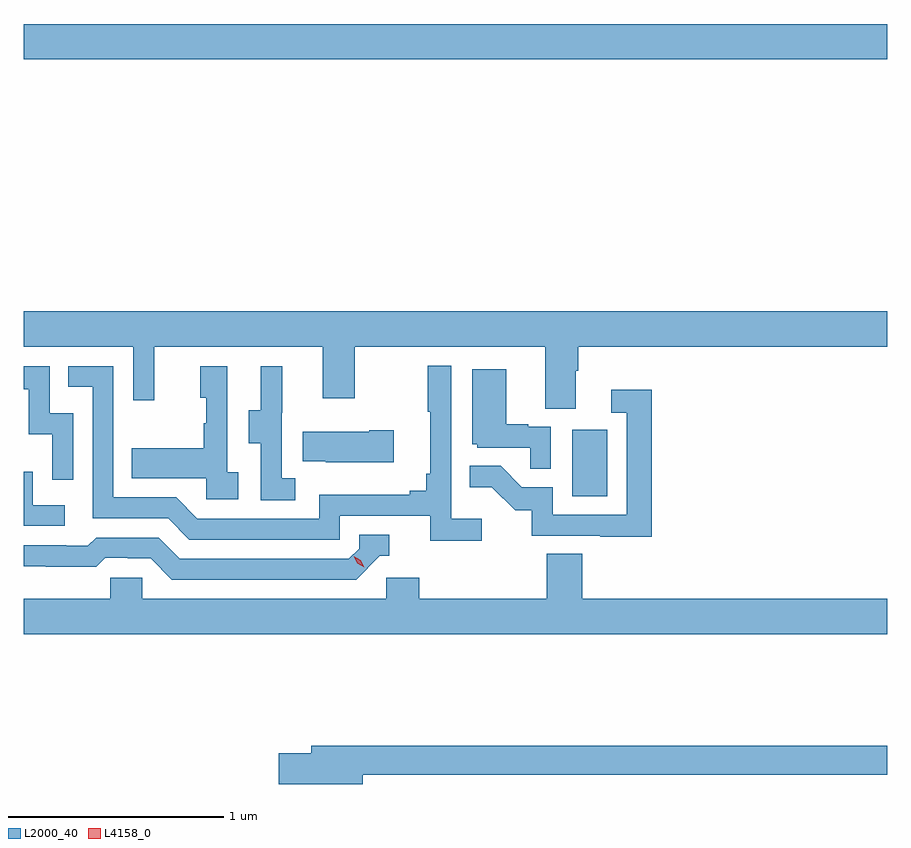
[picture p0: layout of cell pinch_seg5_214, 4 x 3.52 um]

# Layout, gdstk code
import gdstk
lib = gdstk.Library(unit=1e-6, precision=1e-09)
def R(c, l, rs):  # rectangles x0, y0, x1, y1
    for r in rs: c.add(gdstk.rectangle(r[:2], r[2:], *l))
def P(c, l, *ps):  # polygons
    for p in ps: c.add(gdstk.Polygon(p, *l))
L2000_40 = (2000, 40)
L4158_0 = (4158, 0)

pinch_seg5_214 = lib.new_cell('pinch_seg5_214')
R(pinch_seg5_214, L2000_40, [(962.564,912.012,962.728,912.319), (960.024,914.036,964.024,914.2)])
P(pinch_seg5_214, L2000_40, [(962.581,912.592),(962.594,912.592),(962.594,912.704),(964.024,912.704),(964.024,912.868),(960.024,912.868),(960.024,912.704),(960.531,912.704),(960.531,912.456),(960.629,912.456),(960.629,912.704),(961.409,912.704),(961.409,912.465),(961.557,912.465),(961.557,912.704),(962.441,912.704),(962.441,912.418),(962.581,912.418)],
  [(962.146,911.908),(962.004,911.908),(962.004,912.616),(961.896,912.616),(961.896,912.403),(961.907,912.403),(961.907,912.115),(961.888,912.115),(961.888,912.038),(961.811,912.038),(961.811,912.019),(961.392,912.019),(961.392,911.907),(960.828,911.907),(960.729,912.006),(960.438,912.006),(960.438,912.615),(960.229,912.615),(960.229,912.519),(960.342,912.519),(960.342,911.91),(960.692,911.91),(960.791,911.811),(961.488,911.811),(961.488,911.922),(961.907,911.922),(961.907,911.806),(962.146,911.806)],
  [(960.252,912.396),(960.144,912.396),(960.144,912.615),(960.024,912.615),(960.024,912.507),(960.047,912.507),(960.047,912.299),(960.156,912.299),(960.156,912.087),(960.252,912.087)],
  [(961.282,912.095),(961.218,912.095),(961.218,912.399),(961.22,912.399),(961.22,912.613),(961.121,912.613),(961.121,912.411),(961.067,912.411),(961.067,912.256),(961.122,912.256),(961.122,911.992),(961.282,911.992)],
  [(961.018,912.122),(960.966,912.122),(960.966,912.613),(960.842,912.613),(960.842,912.468),(960.868,912.468),(960.868,912.35),(960.858,912.35),(960.858,912.235),(960.523,912.235),(960.523,912.095),(960.87,912.095),(960.87,911.997),(961.018,911.997)],
  [(962.466,912.333),(962.36,912.333),(962.36,912.346),(962.26,912.346),(962.26,912.601),(962.102,912.601),(962.102,912.252),(962.124,912.252),(962.124,912.237),(962.371,912.237),(962.371,912.139),(962.466,912.139)],
  [(962.933,912.505),(962.745,912.505),(962.745,912.399),(962.817,912.399),(962.817,911.925),(962.475,911.925),(962.475,912.054),(962.331,912.054),(962.233,912.152),(962.089,912.152),(962.089,912.053),(962.193,912.053),(962.3,911.946),(962.377,911.946),(962.377,911.829),(962.695,911.829),(962.695,911.824),(962.933,911.824)],
  [(961.738,912.318),(961.625,912.318),(961.625,912.31),(961.315,912.31),(961.315,912.173),(961.423,912.173),(961.423,912.17),(961.738,912.17)],
  [(960.214,911.97),(960.066,911.97),(960.066,912.124),(960.024,912.124),(960.024,911.874),(960.214,911.874)],
  [(961.674,911.736),(961.717,911.736),(961.717,911.832),(961.578,911.832),(961.578,911.769),(961.53,911.721),(960.747,911.721),(960.648,911.82),(960.359,911.82),(960.32,911.781),(960.221,911.781),(960.221,911.784),(960.024,911.784),(960.024,911.687),(960.126,911.687),(960.126,911.685),(960.359,911.685),(960.401,911.727),(960.504,911.727),(960.504,911.724),(960.611,911.724),(960.71,911.625),(961.563,911.625)],
  [(964.024,911.536),(962.612,911.536),(962.612,911.744),(962.447,911.744),(962.447,911.536),(961.856,911.536),(961.856,911.634),(961.704,911.634),(961.704,911.536),(960.573,911.536),(960.573,911.634),(960.423,911.634),(960.423,911.536),(960.024,911.536),(960.024,911.372),(964.024,911.372)],
  [(961.594,910.72),(964.024,910.72),(964.024,910.856),(961.355,910.856),(961.355,910.82),(961.206,910.82),(961.206,910.678),(961.594,910.678)])
P(pinch_seg5_214, L4158_0, [(961.6,911.682),(961.569,911.701),(961.553,911.734),(961.553,911.734),(961.553,911.734),(961.584,911.715),(961.601,911.683),(961.601,911.682)])

lib.write_gds('pinch_seg5_214.gds')
